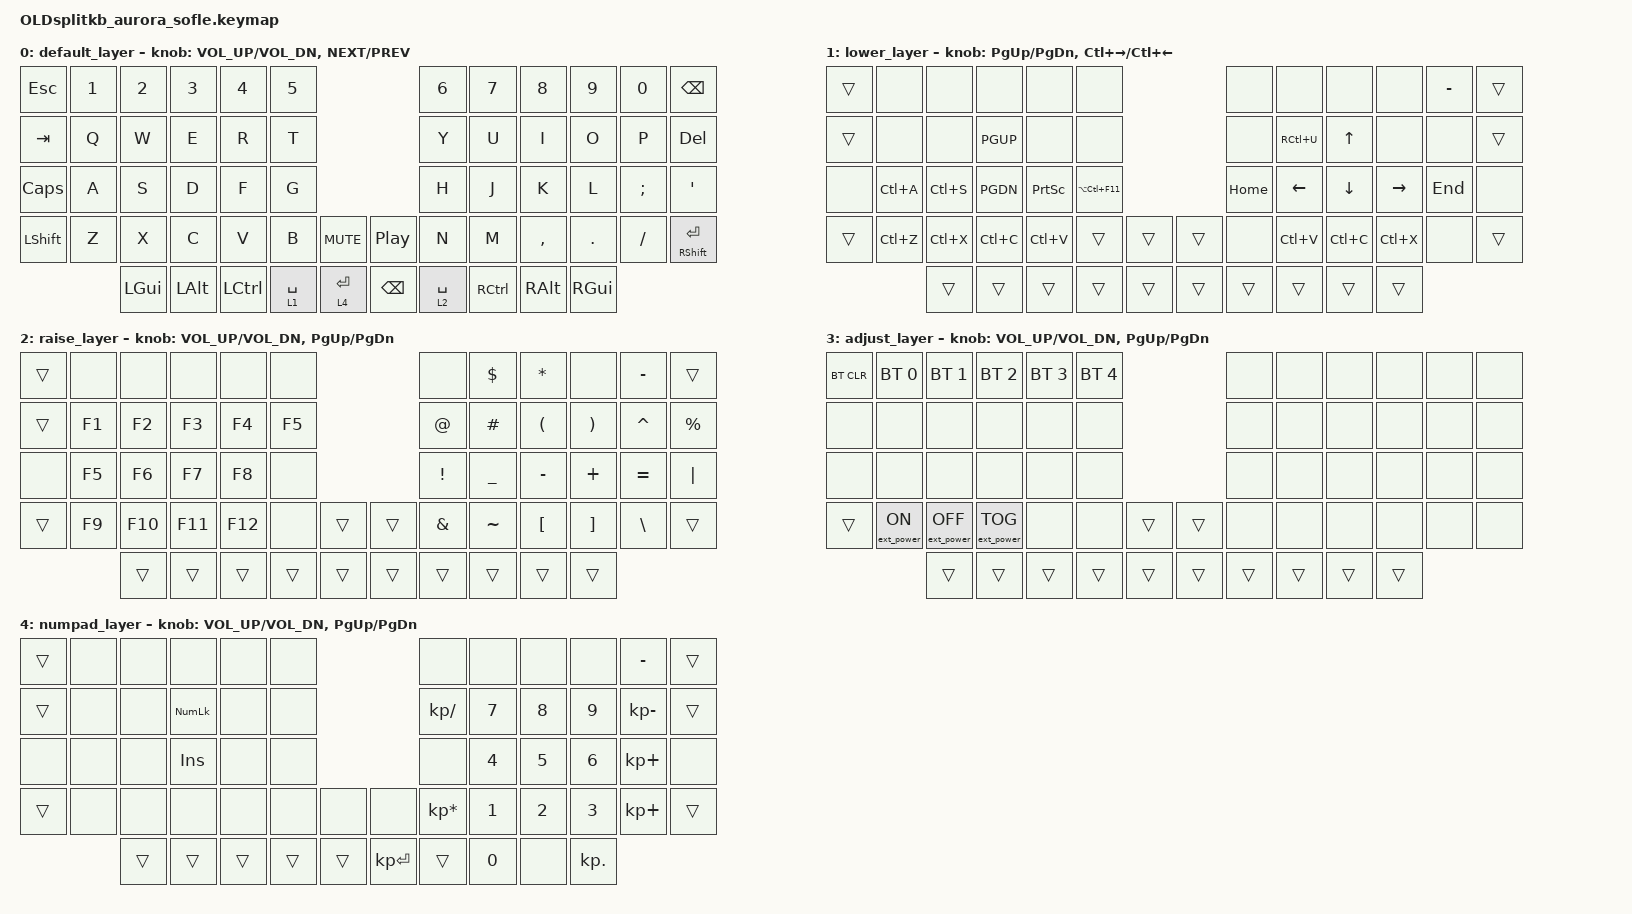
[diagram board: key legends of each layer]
/*
 * Copyright (c) 2023 The ZMK Contributors
 *
 * SPDX-License-Identifier: MIT
 */

#include <behaviors.dtsi>
#include <dt-bindings/zmk/keys.h>
#include <dt-bindings/zmk/bt.h>
//#include <dt-bindings/zmk/rgb.h>
#include <dt-bindings/zmk/mouse.h>
#include <dt-bindings/zmk/ext_power.h>
#include <dt-bindings/zmk/outputs.h>

#define DEFAULT 0
#define LOWER 1
#define RAISE 2
#define ADJUST 3
#define NUMPAD 4

#define TILDESC &mt TILDE ESC
#define SHFTESC &mt RSHFT RETURN
#define SPCELOW &lt 1 SPACE
#define ENTRNUM	&lt 4 RETURN
#define SPCRISE &lt 2 SPACE

/*Uncomment this block if using RGB
&led_strip {
    //chain-length = <6>; // Uncomment if using only underglow
    //chain-length = <35>; // Uncomment if using both per-key and underglow LEDs
    //chain-length = <29>; // Uncomment if using only per-key LEDs.
};*/
 
/ {
// Activate ADJUST layer by pressing raise and lower
    conditional_layers {
        compatible = "zmk,conditional-layers";
        tri_layer {
            if-layers = <1 2>;
            then-layer = <3>;
        };
    };

    keymap {
        compatible = "zmk,keymap";
//------------------------------------------------DEFAULT-------------------------------------------------------
        default_layer {
// -------------------------------------------------------------------------------------------------------------
// |  ESC    |  1  |  2  |  3   |  4   |  5   |                   |  6   |  7    |  8    |  9   |   0   |  BSPC |
// |  TAB    |  Q  |  W  |  E   |  R   |  T   |                   |  Y   |  U    |  I    |  O   |   P   |  DEL  |
// |  CAPS   |  A  |  S  |  D   |  F   |  G   |                   |  H   |  J    |  K    |  L   |   ;   |   '   |
// | SHIFT   |  Z  |  X  |  C   |  V   |  B   | MUTE|  |PLAY/PAUSE|  N   |  M    |  ,    |  .   |   /   | SHIFT/RETURN |
//                 | GUI | ALT| CTRL|SPC/LOW|RET/NUM|  | BSPC | SPC/RAISE| RCTRL | RALT  | RGUI |
            bindings = <
&kp ESC   &kp N1 &kp N2    &kp N3   &kp N4   &kp N5                      &kp N6  &kp N7    &kp N8    &kp N9   &kp N0   &kp BSPC
&kp TAB   &kp Q  &kp W     &kp E    &kp R    &kp T                       &kp Y   &kp U     &kp I     &kp O    &kp P    &kp DEL
&kp CAPS  &kp A  &kp S     &kp D    &kp F    &kp G                       &kp H   &kp J     &kp K     &kp L    &kp SEMI &kp SQT
&kp LSHFT &kp Z  &kp X     &kp C    &kp V    &kp B &kp C_MUTE   &kp C_PP &kp N   &kp M     &kp COMMA &kp DOT  &kp FSLH SHFTESC
                 &kp LGUI &kp LALT  &kp LCTRL SPCELOW ENTRNUM   &kp BSPC SPCRISE &kp RCTRL &kp RALT  &kp RGUI
            >;
            sensor-bindings = <&inc_dec_kp C_VOL_UP C_VOL_DN &inc_dec_kp C_NEXT C_PREV>;
        };

//-------------------------------------------------LOWER-------------------------------------------------------
        lower_layer {
// ------------------------------------------------------------------------------------------------------------
// |       |     |     |      |      |      |                   |      |       |       |      |   -   |       |
// |       |     |     | PGUP |      |      |                   |      | CTRL+U|   ^   |      |       |       |
// |       | ALL | SAVE| PGDN | PRINT| AUDIO|                   | home |  <    |   v   |  >   | end   |       |
// |       | UNDO| CUT | COPY | PASTE|      |        |  |       |      | PASTE |  COPY | CUT  |       |       |
//               |     |      |      |      |        |  |       |      |       |       |      |
            bindings = <
&trans    &none     &none     &none     &none      &none                   &none       &none      &none     &none      &kp MINUS  &trans
&trans    &none     &none     &kp PGUP  &none      &none                   &none       &kp RC(U)  &kp UP    &none      &none      &trans
&none     &kp LC(A) &kp LC(S) &kp PGDN  &kp PSCRN  &kp LA(LC(F11))         &kp HOME    &kp LEFT   &kp DOWN  &kp RIGHT  &kp END    &none
&trans    &kp LC(Z) &kp LC(X) &kp LC(C) &kp LC(V)  &trans  &trans  &trans  &none       &kp LC(V)  &kp LC(C) &kp LC(X)  &none      &trans
                    &trans    &trans    &trans     &trans  &trans  &trans  &trans      &trans     &trans    &trans
            >;
             sensor-bindings = <&inc_dec_kp PG_UP PG_DN &inc_dec_kp LC(RIGHT) LC(LEFT)>;
        };

//-------------------------------------------------RAISE-------------------------------------------------------
        raise_layer {
// ------------------------------------------------------------------------------------------------------------
// |    |     |     |      |      |      |                   |      |   $   |   *   |      |   -   |       |
// |    |  F1 |  F2 |  F3  |  F4  |  F5  |                   |   @  |   #   |   (   |  )   |   ^   |   %   |
// |    |  F5 |  F6 |  F7  |  F8  |      |                   |   !  |   _   |   -   |  +   |   =   |  "|"  |
// |    |  F9 | F10 |  F11 | F12  |      |        |  |       |   &  |   ~   |   [   |  ]   |   \   |       |
//            |     |      |      |      |        |  |       |      |       |       |      |
            bindings = <
&trans   &none   &none   &none   &none   &none                        &none     &kp DLLR   &kp ASTRK  &none      &kp MINUS  &trans
&trans   &kp F1  &kp F2  &kp F3  &kp F4  &kp F5                       &kp AT    &kp HASH   &kp LPAR   &kp RPAR   &kp CARET  &kp PRCNT
&none    &kp F5  &kp F6  &kp F7  &kp F8  &none                        &kp EXCL  &kp UNDER  &kp MINUS  &kp PLUS   &kp EQUAL  &kp PIPE
&trans   &kp F9  &kp F10 &kp F11 &kp F12 &none     &trans   &trans    &kp AMPS  &kp TILDE  &kp LBKT   &kp RBKT   &kp BSLH   &trans
                 &trans  &trans  &trans  &trans    &trans   &trans    &trans    &trans     &trans     &trans
            >;

            sensor-bindings = <&inc_dec_kp C_VOL_UP C_VOL_DN &inc_dec_kp PG_UP PG_DN>;
        };
//------------------------------------------------ADJUST-------------------------------------------------------
        adjust_layer {
// ------------------------------------------------------------------------------------------------------------
// | BTCLR | BT1  |  BT2  |  BT3  |  BT4 |  BT5 |                   |      |       |       |      |       |       |
// |       |      |       |       |      |      |                   |      |       |       |      |       |       |
// |       |      |       |       |      |      |                   |      |       |       |      |       |       |
// |       |PWR ON|PWR OFF|PWR TOG|      |      |        |  |       |      |       |       |      |       |       |
//                |       |       |      |      |        |  |       |      |       |       |      |
            bindings = <
&bt BT_CLR &bt BT_SEL 0     &bt BT_SEL 1      &bt BT_SEL 2      &bt BT_SEL 3 &bt BT_SEL 4                 &none   &none  &none  &none  &none  &none
&none      &none            &none             &none             &none        &none                        &none   &none  &none  &none  &none  &none
&none      &none            &none             &none             &none        &none                        &none   &none  &none  &none  &none  &none
&trans     &ext_power EP_ON &ext_power EP_OFF &ext_power EP_TOG &none        &none     &trans   &trans    &none   &none  &none  &none  &none  &none
                            &trans            &trans            &trans       &trans    &trans   &trans    &trans  &trans &trans &trans
            >;

            sensor-bindings = <&inc_dec_kp C_VOL_UP C_VOL_DN &inc_dec_kp PG_UP PG_DN>;
        };
//------------------------------------------------NUMPAD-------------------------------------------------------
        numpad_layer {
// ------------------------------------------------------------------------------------------------------------
// |      |     |     |       |      |      |                   |      |       |       |      |       |       |
// |      |     |     |NUMLOCK|      |      |                   |   /  |   7   |   8   |   9  |   -   |       |
// |      |     |     |INSERT |      |      |                   |      |   4   |   5   |   6  |   +   |       |
// |      |     |     |       |      |      |        |  |       |   *  |   1   |   2   |   3  |   +   |       |
//              |     |       |      |      |        |  |       |   =  |   0   |   .   |      |
            bindings = <
&trans   &none    &none   &none      &none    &none                      &none            &none     &none       &none     &kp MINUS     &trans
&trans   &none    &none   &kp KP_NUM &none    &none                      &kp KP_DIVIDE    &kp N7    &kp N8      &kp N9    &kp KP_MINUS  &trans
&none    &none    &none   &kp INS    &none    &none                      &none            &kp N4    &kp N5      &kp N6    &kp KP_PLUS   &none
&trans   &none    &none   &none      &none    &none    &none    &none    &kp KP_MULTIPLY  &kp N1    &kp N2      &kp N3    &kp KP_PLUS   &trans
                  &trans  &trans     &trans   &trans   &trans   &kp KP_ENTER &trans       &kp N0    &none       &kp KP_DOT
            >;

            sensor-bindings = <&inc_dec_kp C_VOL_UP C_VOL_DN &inc_dec_kp PG_UP PG_DN>;
        };
    };
};
